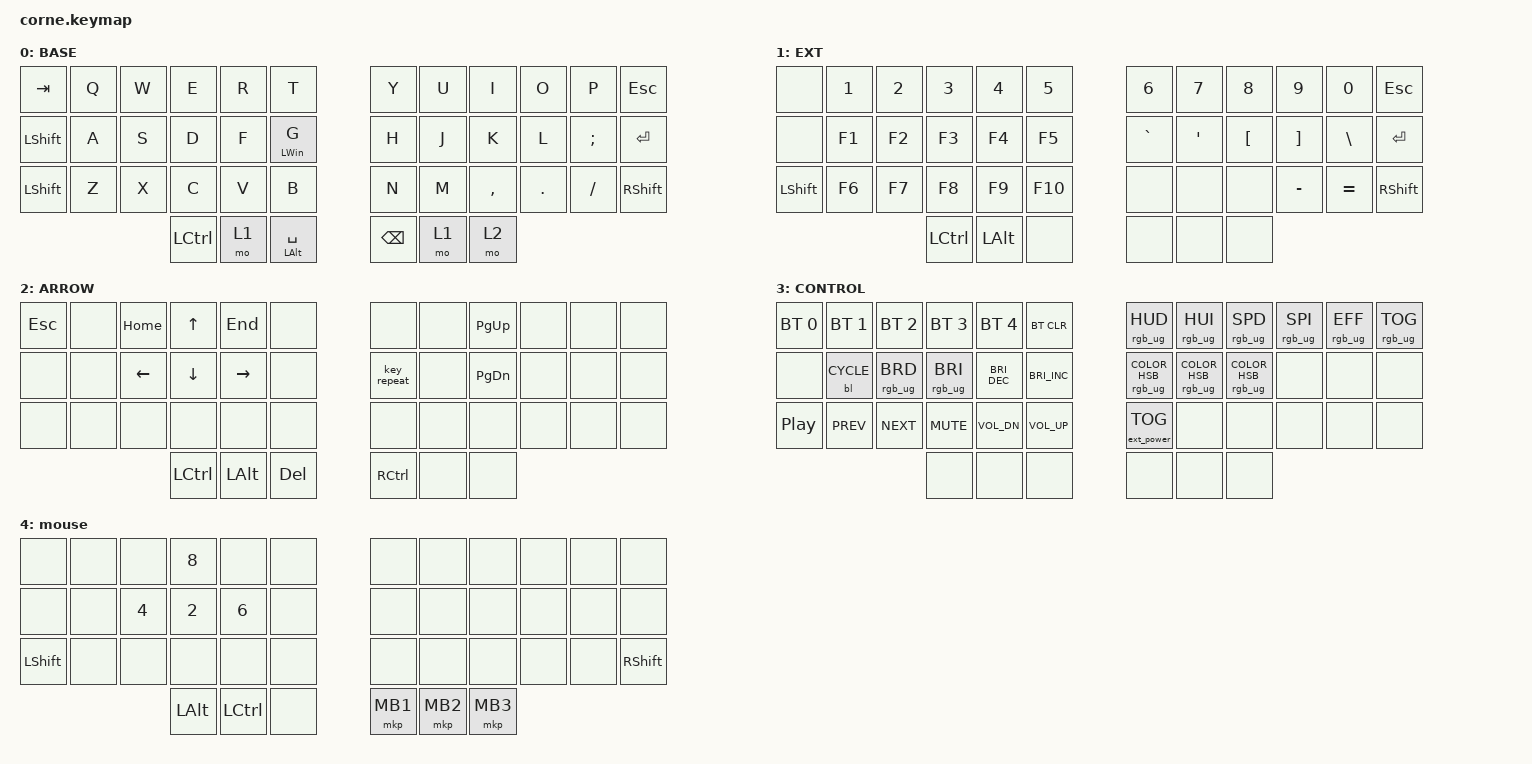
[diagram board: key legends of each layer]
#include <dt-bindings/zmk/mouse.h>
#include <behaviors.dtsi>
#include <dt-bindings/zmk/backlight.h>
#include <dt-bindings/zmk/bt.h>
#include <dt-bindings/zmk/ext_power.h>
#include <dt-bindings/zmk/keys.h>
#include <dt-bindings/zmk/pointing.h>
#include <dt-bindings/zmk/rgb.h>

#define DEFAULT  0
#define LOWER    1
#define RAISE    2
#define CONTROL   3

// dt-formatter: indent = "  "
// dt-formatter: reindentMultilineIntegerCells = "dedent"
//&led_strip {
//  chain-length = <27>;
// 21 backlight + 6 glowlight
//};

/ {
  behaviors {
    hm: homerow_mods {
      compatible = "zmk,behavior-hold-tap";
      label = "HOMEROW_MODS";
      #binding-cells = <2>;
      tapping-term-ms = <150>;
      quick-tap-ms = <0>;
      flavor = "tap-preferred";
      bindings = <&kp>, <&kp>;
    };
  };

  combos {
    compatible = "zmk,combos";

    Capslock {
      bindings = <&caps_word>;
      key-positions = <17 18>;
    };

    Screenshot {
      bindings = <&kp LS(LG(N4))>;
      key-positions = <3 4>;
    };

    Fullzoom_Window {
      bindings = <&kp LS(LC(LG(ENTER)))>;
      key-positions = <1 2>;
    };

    Switch_Window {
      bindings = <&kp LG(GRAVE)>;
      key-positions = <25 26>;
    };

    Switch_Input_Source {
      bindings = <&kp LC(LA(SPACE))>;
      key-positions = <11 10>;
    };

    Space {
      bindings = <&kp SPACE>;
      key-positions = <28 29>;
    };

    To_Layer1 {
      bindings = <&to 0>;
      key-positions = <0 1>;
    };

    To_Layer2 {
      bindings = <&to 1>;
      key-positions = <0 2>;
    };

    To_Layer3 {
      bindings = <&to 2>;
      key-positions = <0 3>;
    };

    To_Layer4 {
      bindings = <&to 3>;
      key-positions = <0 4>;
    };

    Enter-r {
      bindings = <&kp ENTER>;
      key-positions = <19 20>;
    };

    Enter-l {
      bindings = <&kp ENTER>;
      key-positions = <15 16>;
    };

    QTab {
      bindings = <&kp TAB>;
      key-positions = <16 17>;
    };

    Qspace {
      bindings = <&kp SPACE>;
      key-positions = <18 19>;
    };

    Switch-Language {
      bindings = <&kp LG(SPACE)>;
      key-positions = <20 31>;
    };

    to_mouse {
      bindings = <&to 4>;
      key-positions = <38 39>;
    };
  };

  keymap {
    compatible = "zmk,keymap";

    base_layer {
      label = "BASE";
      bindings = <
&kp TAB         &kp Q  &kp W  &kp E      &kp R  &kp T                 &kp Y          &kp U  &kp I      &kp O    &kp P     &kp ESCAPE
&kp LEFT_SHIFT  &kp A  &kp S  &kp D      &kp F  &mt LEFT_WIN G        &kp H          &kp J  &kp K      &kp L    &kp SEMI  &kp ENTER
&kp LEFT_SHIFT  &kp Z  &kp X  &kp C      &kp V  &kp B                 &kp N          &kp M  &kp COMMA  &kp DOT  &kp FSLH  &kp RIGHT_SHIFT
                              &kp LCTRL  &mo 1  &mt LEFT_ALT SPACE    &kp BACKSPACE  &mo 1  &mo 2
      >;
    };

    extended_layer {
      label = "EXT";
      bindings = <
&none      &kp N1  &kp N2  &kp N3     &kp N4        &kp N5     &kp N6     &kp N7    &kp N8    &kp N9     &kp N0     &kp ESCAPE
&none      &kp F1  &kp F2  &kp F3     &kp F4        &kp F5     &kp GRAVE  &kp APOS  &kp LBKT  &kp RBKT   &kp BSLH   &kp ENTER
&kp LSHFT  &kp F6  &kp F7  &kp F8     &kp F9        &kp F10    &none      &none     &none     &kp MINUS  &kp EQUAL  &kp RSHFT
                           &kp LCTRL  &kp LEFT_ALT  &none      &none      &none     &none
      >;
    };

    arrow_layer {
      label = "ARROW";
      bindings = <
&kp ESC  &none  &kp HOME  &kp UP     &kp END       &none      &none        &none  &kp PAGE_UP    &none  &none  &none
&none    &none  &kp LEFT  &kp DOWN   &kp RIGHT     &none      &key_repeat  &none  &kp PAGE_DOWN  &none  &none  &none
&none    &none  &none     &none      &none         &none      &none        &none  &none          &none  &none  &none
                          &kp LCTRL  &kp LEFT_ALT  &kp DEL    &kp RCTRL    &none  &none
      >;
    };

    control_layer {
      label = "CONTROL";
      bindings = <
&bt BT_SEL 0      &bt BT_SEL 1  &bt BT_SEL 2     &bt BT_SEL 3     &bt BT_SEL 4          &bt BT_CLR              &rgb_ug RGB_HUD                   &rgb_ug RGB_HUI                   &rgb_ug RGB_SPD                   &rgb_ug RGB_SPI  &rgb_ug RGB_EFF  &rgb_ug RGB_TOG
&none             &bl BL_CYCLE  &rgb_ug RGB_BRD  &rgb_ug RGB_BRI  &kp C_BRIGHTNESS_DEC  &kp C_BRIGHTNESS_INC    &rgb_ug RGB_COLOR_HSB(246,25,46)  &rgb_ug RGB_COLOR_HSB(25,100,55)  &rgb_ug RGB_COLOR_HSB(336,93,50)  &none            &none            &none
&kp C_PLAY_PAUSE  &kp C_PREV    &kp C_NEXT       &kp K_MUTE       &kp C_VOL_DN          &kp C_VOL_UP            &ext_power EP_TOG                 &none                             &none                             &none            &none            &none
                                                 &none            &none                 &none                   &none                             &none                             &none
      >;
    };

    mouse {
      bindings = <
&none           &none  &none   &kp N8    &none      &none    &none     &none     &none     &none  &none  &none
&none           &none  &kp N4  &kp N2    &kp N6     &none    &none     &none     &none     &none  &none  &none
&kp LEFT_SHIFT  &none  &none   &none     &none      &none    &none     &none     &none     &none  &none  &kp RIGHT_SHIFT
                               &kp LALT  &kp LCTRL  &none    &mkp MB1  &mkp MB2  &mkp MB3
      >;
    };
  };
};
